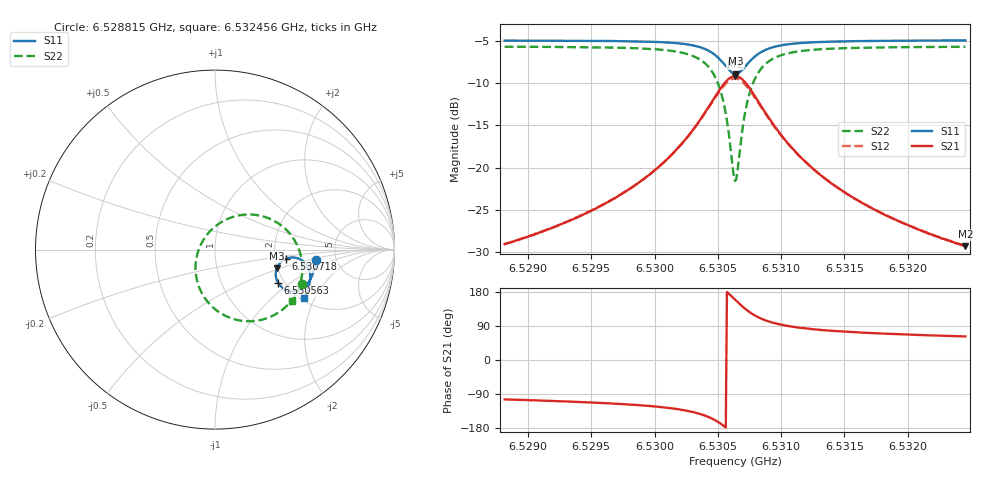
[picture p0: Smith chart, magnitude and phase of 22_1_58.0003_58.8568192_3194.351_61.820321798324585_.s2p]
#  HZ  S  RI  R  50.00
! Rohde & Schwarz Vector Network Analyzer
! Rohde-Schwarz,ZNB20-2Port,1311601062101988,3.16
! Created: UTC 3/21/2024, 12:51:13 AM
! freq[Hz]  re:S11  im:S11  re:S21  im:S21  re:S12  im:S12  re:S22  im:S22
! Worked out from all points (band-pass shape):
!   401 points, 6.528815 GHz to 6.532456 GHz, reference 50 ohm
!   highest |S21| = -9.17 dB at 6.530636 GHz (marker M1); lowest = -29.3 dB at 6.532456 GHz (marker M2)
!   |S21| within 3 dB of the highest: 6.530455 GHz to 6.530819 GHz (364.4 kHz wide, 0.00558 % of centre)
!   lowest |S11| = -8.9 dB at 6.530645 GHz (marker M3), VSWR 2.12, Z = 98.7 - j23.7 ohm
!   |S11| at or under -10 dB: nowhere
!   |S22| runs from -21.6 to -5.7 dB; largest |S21 - S12| = 0.015
!   S11 on the Smith chart (normalised r, x): 6.528815 GHz: 3.48, -0.60; 6.530563 GHz: 1.85, -0.82; 6.530718 GHz: 2.28, -0.28; 6.532456 GHz: 2.09, -1.66
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6.5288151e9  0.561 -0.0587  -0.00848 -0.0343  -0.00923 -0.0341  0.4823 -0.192
6.529425e9  0.5515 -0.112  -0.0188 -0.0488  -0.0201 -0.0484  0.4493 -0.2539
6.52978e9  0.5398 -0.1478  -0.0333 -0.065  -0.035 -0.0642  0.4124 -0.3012
6.5300349e9  0.5236 -0.1786  -0.0562 -0.0844  -0.0587 -0.0827  0.3607 -0.3458
6.5302534e9  0.4934 -0.2109  -0.1034 -0.1083  -0.1072 -0.1044  0.2649 -0.3895
6.5304081e9  0.4435 -0.2304  -0.1839 -0.1154  -0.1867 -0.107  0.1177 -0.3909
6.5304992e9  0.3915 -0.2215  -0.2654 -0.0817  -0.2638 -0.0697  -0.0168 -0.317
6.5305356e9  0.3681 -0.2054  -0.3006 -0.047  -0.2955 -0.0343  -0.0688 -0.2509
6.5305629e9  0.3525 -0.1866  -0.3223 -0.00986  -0.3141 0.00205  -0.0971 -0.1844
6.5306175e9  0.3383 -0.1335  -0.335 0.0875  -0.3218 0.094  -0.0978 -0.0218
6.5306357e9  0.3412 -0.114  -0.3262 0.1215  -0.3125 0.1258  -0.0769 0.0324
6.5306448e9  0.3441 -0.1045  -0.3194 0.138  -0.3057 0.1408  -0.0625 0.0578
6.530663e9  0.3529 -0.0869  -0.3012 0.1681  -0.288 0.1685  -0.0268 0.1034
6.5307176e9  0.394 -0.0517  -0.2242 0.2265  -0.2151 0.2224  0.1103 0.1852
6.5307541e9  0.4242 -0.044  -0.1707 0.2385  -0.1645 0.2338  0.2013 0.1954
6.5307905e9  0.4506 -0.0456  -0.125 0.2355  -0.1209 0.2313  0.278 0.1818
6.5309088e9  0.5027 -0.0754  -0.037 0.1905  -0.0355 0.1885  0.42 0.0852
6.5310362e9  0.5231 -0.1094  -0.00195 0.1446  -0.000815 0.1436  0.471 -0.00774
6.5312456e9  0.5304 -0.15  0.0149 0.0985  0.016 0.0983  0.487 -0.1033
6.5315096e9  0.5272 -0.1852  0.0187 0.0684  0.0197 0.068  0.4794 -0.172
6.5318555e9  0.518 -0.2201  0.0184 0.0477  0.0192 0.0475  0.4624 -0.2269
6.5324563e9  0.4973 -0.269  0.0161 0.0304  0.0168 0.0301  0.4312 -0.2879
